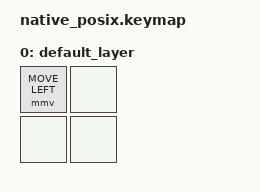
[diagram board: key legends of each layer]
#include <behaviors.dtsi>
#include <dt-bindings/zmk/keys.h>
#include <dt-bindings/zmk/kscan_mock.h>
#include <dt-bindings/zmk/mouse.h>

/ {
    keymap {
        compatible = "zmk,keymap";
        label ="Default keymap";

        default_layer {
            bindings = <
            &mmv MOVE_LEFT &none
            &none &none
            >;
        };
    };
};


&kscan {
    events = <
    ZMK_MOCK_PRESS(0,0,100)
    ZMK_MOCK_RELEASE(0,0,10)
    >;
};
